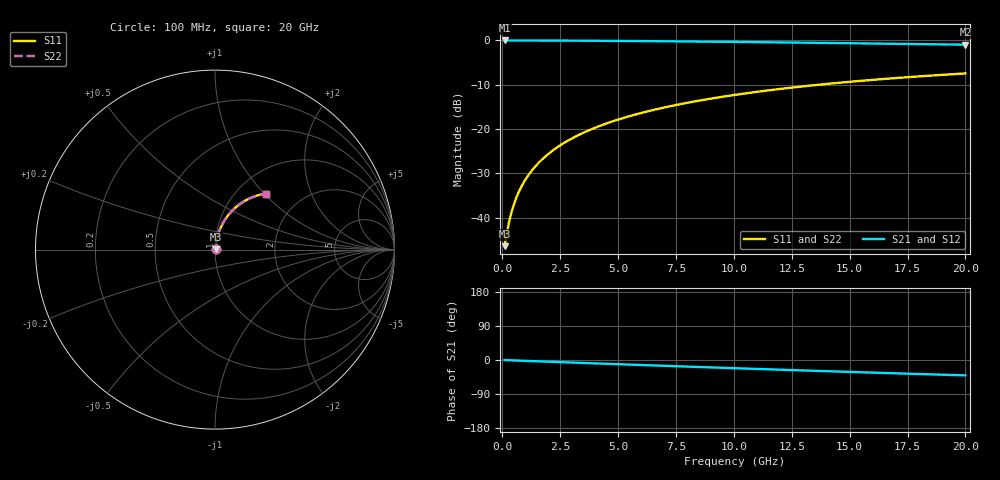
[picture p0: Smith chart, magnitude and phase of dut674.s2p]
! Touchstone file exported from HFSS 2026.1.0
!  File:  C:/ffzhzh/LocalFiles/Ansys_Project_Files/temp_train_BSMRDL_674_1783017411_4048.aedt
!  Generated:  02:38:12 AM Jul  3, 2026
!  Design:  BSMRDL
!  Project:  temp_train_BSMRDL_674_1783017411_4048
! Variables:
!  h_bsmrdl = 5.23um
!  h_ox = 20um
!  h_rdl = 5um
!  h_sub = 80um
!  h_tmrdl = 5um
!  h_tsv = 80um
!  h_via = 3um
!  l_bsmrdl = 577.5um
!  l_sub = 977.5um
!  l_tmrdl = 200um
!  m_sub = 200um
!  pitch = 36.21um
!  r_tsv = 6um
!  s_tmrdl = 10um
!  w_bsmrdl = 10.1um
!  w_sub = 500um
!  w_tmrdl = 12um
!  x_tsv_center1 = 206um
!  x_tsv_center2 = 793.6um
!  x_tsv_center3 = 1005.6um
!  x_tsv_center4 = 1593.2um
!  x_tsv_center5 = 1805.2um
!  x_tsv_center6 = 2392.8um
# GHz S MA R 50.000000
! Terminal data exported
! Port[1] = BSM_RDL1_1_T1
! Port[2] = BSM_RDL1_1_T2
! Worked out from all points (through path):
!   200 points, 100 MHz to 20 GHz, reference 50 ohm
!   highest |S21| = -0.03 dB at 100 MHz (marker M1); lowest = -1.0 dB at 20 GHz (marker M2)
!   group delay of S21, straight-line fit = 5.64 ps
!   lowest |S11| = -46.5 dB at 100 MHz (marker M3), VSWR 1.01, Z = 50.4 + j0.273 ohm
!   |S11| at or under -10 dB: start of sweep to 13.72 GHz
!   |S22| runs from -46.5 to -7.5 dB; largest |S21 - S12| = 4.3e-15
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0.1  0.004747 34.8  0.9961 -0.2  0.9961 -0.2  0.004747 34.8
! Gamma 0 0 0 0
! Port Impedance 50 0 50 0
0.2  0.006708 53.6  0.996 -0.5  0.996 -0.5  0.006708 53.6
0.3  0.00905 63.0  0.9959 -0.7  0.9959 -0.7  0.00905 63.0
0.4  0.01152 68.3  0.9958 -0.9  0.9958 -0.9  0.01152 68.3
0.5  0.01404 71.6  0.9957 -1.1  0.9957 -1.1  0.01404 71.6
0.6  0.01658 73.8  0.9956 -1.4  0.9956 -1.4  0.01658 73.8
0.8  0.02169 76.5  0.9954 -1.8  0.9954 -1.8  0.02169 76.5
1.1  0.02937 78.5  0.9951 -2.5  0.9951 -2.5  0.02938 78.5
1.5  0.03964 79.7  0.9945 -3.4  0.9945 -3.4  0.03965 79.7
1.8  0.04734 79.9  0.994 -4.1  0.994 -4.1  0.04734 79.9
2.1  0.05503 79.9  0.9934 -4.7  0.9934 -4.7  0.05503 79.9
2.7  0.07032 79.4  0.992 -6.1  0.992 -6.1  0.07032 79.4
3.5  0.09047 78.2  0.9898 -7.8  0.9898 -7.8  0.09048 78.2
4.2  0.1079 77.0  0.9874 -9.4  0.9874 -9.4  0.1079 77.0
5  0.1274 75.5  0.9844 -11.1  0.9844 -11.1  0.1274 75.5
5.9  0.149 73.8  0.9806 -13.1  0.9806 -13.1  0.149 73.8
6.8  0.17 72.0  0.9765 -15.0  0.9765 -15.0  0.17 72.0
8.3  0.2042 69.1  0.969 -18.1  0.969 -18.1  0.2042 69.1
10.1  0.2434 65.6  0.9589 -21.8  0.9589 -21.8  0.2434 65.6
13.4  0.3102 59.3  0.9382 -28.4  0.9382 -28.4  0.3102 59.3
16.7  0.3701 53.3  0.9156 -34.6  0.9156 -34.6  0.3701 53.3
20  0.4228 47.6  0.8922 -40.6  0.8922 -40.6  0.4228 47.5
